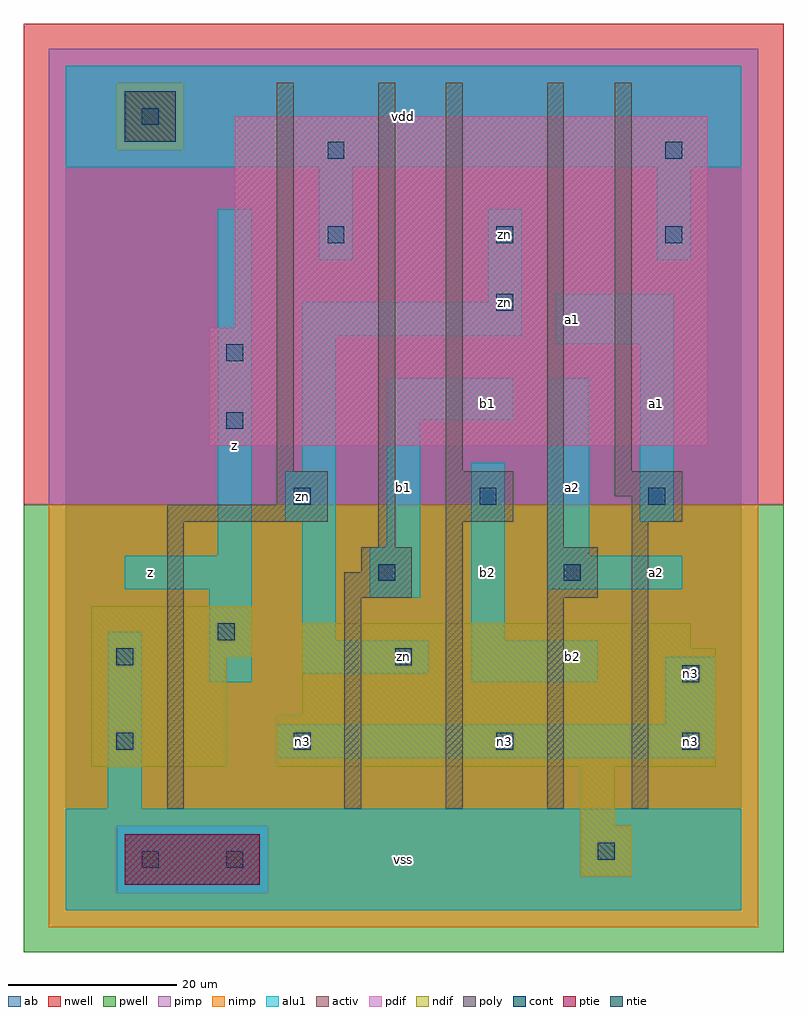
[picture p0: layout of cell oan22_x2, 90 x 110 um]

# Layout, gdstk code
import gdstk
lib = gdstk.Library(unit=1e-6, precision=1e-09)
def R(c, l, rs):  # rectangles x0, y0, x1, y1
    for r in rs: c.add(gdstk.rectangle(r[:2], r[2:], *l))
def A(c, l, x, y, w, h, nx, ny, dx, dy):  # array of equal rectangles
    R(c, l, [(x+i*dx, y+j*dy, x+i*dx+w, y+j*dy+h) for i in range(nx) for j in range(ny)])
ndif = (3, 0)
pdif = (4, 0)
ntie = (5, 0)
ptie = (6, 0)
cont = (25, 0)
pwell = (41, 0)
nwell = (42, 0)
activ = (43, 0)
pimp = (44, 0)
nimp = (45, 0)
poly = (46, 0)
alu1 = (49, 0)
ab = (63, 0)

oan22_x2 = lib.new_cell('oan22_x2')
R(oan22_x2, ndif, [(61,4,67,10), (61,10,65,17), (3,17,19,30), (25,17,77,23), (28,23,77,31), (3,30,22,36), (28,31,74,34)])
R(oan22_x2, pdif, [(17,55,76,69), (20,69,76,94)])
R(oan22_x2, ntie, [(7,91,13,97)])
R(oan22_x2, ptie, [(7,3,23,9)])
A(oan22_x2, cont, 31, 79, 2, 2, 3, 1, 20, 0)
R(oan22_x2, cont, [(9,5,11,7), (19,5,21,7), (63,6,65,8), (6,19,8,21), (27,19,29,21), (51,19,53,21), (73,19,75,21), (73,27,75,29), (6,29,8,31), (39,29,41,31), (18,32,20,34), (37,39,39,41), (59,39,61,41), (27,48,29,50), (49,48,51,50), (69,48,71,50), (19,57,21,59), (19,65,21,67), (51,71,53,73), (31,89,33,91), (71,89,73,91), (9,93,11,95)])
R(oan22_x2, pwell, [(-5,-5,85,48)])
R(oan22_x2, nwell, [(-5,48,85,105)])
R(oan22_x2, activ, [(7,3,23,9), (61,4,67,10), (61,10,65,17), (3,17,19,30), (25,17,77,23), (28,23,77,31), (3,30,22,36), (28,31,74,34), (17,55,76,69), (20,69,76,94), (7,91,13,97)])
R(oan22_x2, pimp, [(6,2,24,10), (-2,48,82,90), (-2,90,6,98), (14,90,82,98), (-2,98,82,102)])
R(oan22_x2, nimp, [(-2,-2,82,2), (-2,2,6,10), (24,2,82,10), (-2,10,82,48), (6,90,14,98)])
A(oan22_x2, poly, 25, 52, 2, 46, 3, 1, 20, 0)
R(oan22_x2, poly, [(12,12,14,46), (33,12,35,37), (45,12,47,46), (57,12,59,37), (67,12,69,46), (33,37,41,40), (57,37,63,43), (35,40,41,43), (37,43,39,98), (57,43,59,98), (12,46,31,48), (45,46,53,52), (67,46,73,49), (25,48,31,52), (65,49,73,52)])
R(oan22_x2, alu1, [(0,0,80,12), (5,12,9,33), (25,18,77,22), (71,22,77,30), (17,27,22,38), (48,27,63,32), (28,28,43,32), (28,32,32,46), (48,32,52,53), (36,37,42,43), (7,38,22,42), (57,38,73,42), (18,42,22,83), (57,42,62,63), (38,43,42,58), (26,46,32,52), (68,46,72,67), (28,52,32,68), (38,58,53,63), (58,67,72,73), (28,68,54,72), (50,72,54,83), (30,77,34,88), (70,77,74,88), (0,88,80,100)])
R(oan22_x2, ab, [(0,0,80,100)])
oan22_x2.add(gdstk.Label('n3', (28,20), layer=49, texttype=0))
oan22_x2.add(gdstk.Label('zn', (28,49), layer=49, texttype=0))
oan22_x2.add(gdstk.Label('n3', (52,20), layer=49, texttype=0))
oan22_x2.add(gdstk.Label('zn', (40,30), layer=49, texttype=0))
oan22_x2.add(gdstk.Label('zn', (52,72), layer=49, texttype=0))
oan22_x2.add(gdstk.Label('zn', (52,80), layer=49, texttype=0))
oan22_x2.add(gdstk.Label('n3', (74,20), layer=49, texttype=0))
oan22_x2.add(gdstk.Label('n3', (74,28), layer=49, texttype=0))
oan22_x2.add(gdstk.Label('z', (10,40), layer=49, texttype=0))
oan22_x2.add(gdstk.Label('z', (20,55), layer=49, texttype=0))
oan22_x2.add(gdstk.Label('vss', (40,6), layer=49, texttype=0))
oan22_x2.add(gdstk.Label('b2', (50,40), layer=49, texttype=0))
oan22_x2.add(gdstk.Label('b1', (40,50), layer=49, texttype=0))
oan22_x2.add(gdstk.Label('b1', (50,60), layer=49, texttype=0))
oan22_x2.add(gdstk.Label('vdd', (40,94), layer=49, texttype=0))
oan22_x2.add(gdstk.Label('b2', (60,30), layer=49, texttype=0))
oan22_x2.add(gdstk.Label('a2', (70,40), layer=49, texttype=0))
oan22_x2.add(gdstk.Label('a2', (60,50), layer=49, texttype=0))
oan22_x2.add(gdstk.Label('a1', (60,70), layer=49, texttype=0))
oan22_x2.add(gdstk.Label('a1', (70,60), layer=49, texttype=0))

lib.write_gds('oan22_x2.gds')
